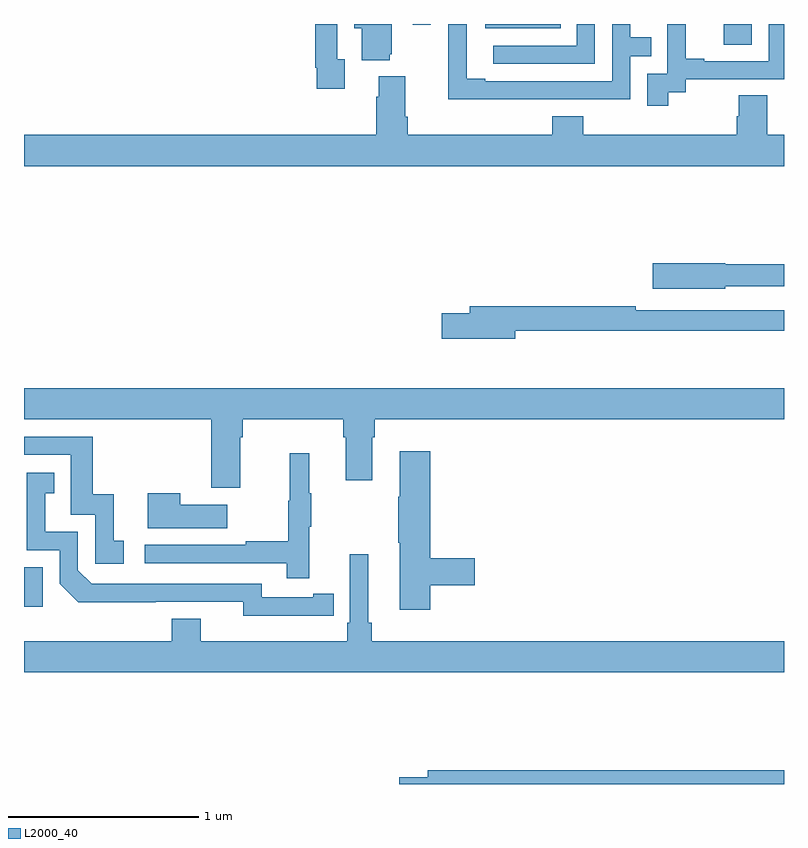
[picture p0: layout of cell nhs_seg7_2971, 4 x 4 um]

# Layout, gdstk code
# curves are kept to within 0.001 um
import gdstk
lib = gdstk.Library(unit=1e-6, precision=1e-09)
def R(c, l, rs):  # rectangles x0, y0, x1, y1
    for r in rs: c.add(gdstk.rectangle(r[:2], r[2:], *l))
def P(c, l, *ps):  # polygons
    for p in ps: c.add(gdstk.Polygon(p, *l))
L2000_40 = (2000, 40)

nhs_seg7_2971 = lib.new_cell('nhs_seg7_2971')
R(nhs_seg7_2971, L2000_40, [(304.683,1031.892,304.83,1032), (303.428,1031.978,303.824,1032), (303.045,1031.997,303.141,1032)])
P(nhs_seg7_2971, L2000_40, [(304.39,1031.641),(304.482,1031.641),(304.482,1031.709),(305,1031.709),(305,1032),(304.92,1032),(304.92,1031.805),(304.579,1031.805),(304.579,1031.818),(304.484,1031.818),(304.484,1032),(304.385,1032),(304.385,1031.969),(304.386,1031.969),(304.386,1031.739),(304.281,1031.739),(304.281,1031.571),(304.39,1031.571)],
  [(304.005,1032),(303.909,1032),(303.909,1031.886),(303.471,1031.886),(303.471,1031.79),(304.005,1031.79)],
  [(303.695,1031.604),(304.191,1031.604),(304.191,1031.829),(304.301,1031.829),(304.301,1031.93),(304.191,1031.93),(304.191,1032),(304.095,1032),(304.095,1031.7),(303.427,1031.7),(303.427,1031.713),(303.33,1031.713),(303.33,1032),(303.234,1032),(303.234,1031.909),(303.232,1031.909),(303.232,1031.603),(303.695,1031.603)],
  [(302.689,1031.814),(302.649,1031.814),(302.649,1032),(302.533,1032),(302.533,1031.77),(302.541,1031.77),(302.541,1031.658),(302.689,1031.658)],
  [(302.924,1031.841),(302.935,1031.841),(302.935,1032),(302.738,1032),(302.738,1031.978),(302.777,1031.978),(302.777,1031.81),(302.924,1031.81)],
  [(305,1031.416),(304.911,1031.416),(304.911,1031.624),(304.763,1031.624),(304.763,1031.514),(304.751,1031.514),(304.751,1031.416),(303.944,1031.416),(303.944,1031.515),(303.779,1031.515),(303.779,1031.416),(303.02,1031.416),(303.02,1031.512),(303.007,1031.512),(303.007,1031.725),(302.867,1031.725),(302.867,1031.618),(302.855,1031.618),(302.855,1031.416),(301,1031.416),(301,1031.252),(305,1031.252)],
  [(304.692,1030.62),(305,1030.62),(305,1030.736),(304.692,1030.736),(304.692,1030.742),(304.308,1030.742),(304.308,1030.607),(304.692,1030.607)],
  [(303.586,1030.386),(305,1030.386),(305,1030.494),(304.22,1030.494),(304.22,1030.514),(303.347,1030.514),(303.347,1030.478),(303.198,1030.478),(303.198,1030.343),(303.586,1030.343)],
  [(302.137,1029.824),(302.15,1029.824),(302.15,1029.92),(302.681,1029.92),(302.681,1029.824),(302.693,1029.824),(302.693,1029.6),(302.833,1029.6),(302.833,1029.824),(302.846,1029.824),(302.846,1029.92),(305,1029.92),(305,1030.084),(301,1030.084),(301,1029.92),(301.985,1029.92),(301.985,1029.558),(302.137,1029.558)],
  [(301.525,1029.279),(301.472,1029.279),(301.472,1029.526),(301.361,1029.526),(301.361,1029.828),(301,1029.828),(301,1029.732),(301.245,1029.732),(301.245,1029.417),(301.374,1029.417),(301.374,1029.159),(301.525,1029.159)],
  [(303.137,1029.046),(303.373,1029.046),(303.373,1029.188),(303.137,1029.188),(303.137,1029.751),(302.978,1029.751),(302.978,1029.512),(302.971,1029.512),(302.971,1029.271),(302.978,1029.271),(302.978,1028.916),(303.137,1028.916)],
  [(302.501,1029.355),(302.512,1029.355),(302.512,1029.529),(302.501,1029.529),(302.501,1029.742),(302.398,1029.742),(302.398,1029.492),(302.391,1029.492),(302.391,1029.278),(302.167,1029.278),(302.167,1029.258),(301.635,1029.258),(301.635,1029.162),(302.383,1029.162),(302.383,1029.084),(302.501,1029.084)],
  [(302.522,1028.886),(302.63,1028.886),(302.63,1029.002),(302.522,1029.002),(302.522,1028.982),(302.25,1028.982),(302.25,1029.054),(301.356,1029.054),(301.284,1029.126),(301.284,1029.327),(301.111,1029.327),(301.111,1029.531),(301.16,1029.531),(301.16,1029.637),(301.014,1029.637),(301.014,1029.231),(301.188,1029.231),(301.188,1029.054),(301.286,1028.957),(302.154,1028.958),(302.154,1028.885)],
  [(302.071,1029.469),(301.823,1029.469),(301.823,1029.529),(301.652,1029.529),(301.652,1029.347),(302.071,1029.347)],
  [(305,1028.752),(302.831,1028.752),(302.831,1028.848),(302.812,1028.848),(302.812,1029.208),(302.715,1029.208),(302.715,1028.848),(302.702,1028.848),(302.702,1028.752),(301.93,1028.752),(301.93,1028.869),(301.778,1028.869),(301.778,1028.752),(301,1028.752),(301,1028.588),(305,1028.588)],
  [(301.098,1029.141),(301,1029.141),(301,1029.045),(301.001,1029.045),(301.001,1028.934),(301.098,1028.934)],
  [(305,1028.072),(303.125,1028.072),(303.125,1028.036),(302.976,1028.036),(302.976,1028),(305,1028)])

lib.write_gds('nhs_seg7_2971.gds')
